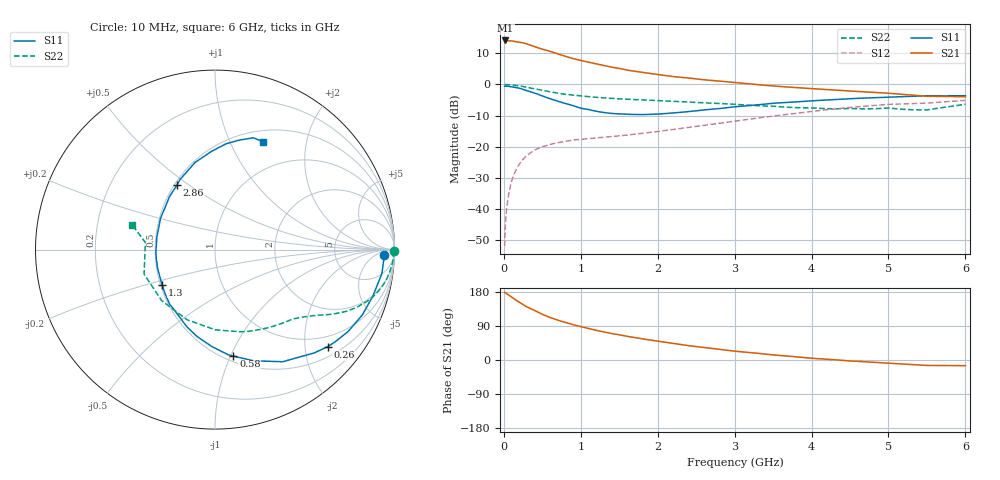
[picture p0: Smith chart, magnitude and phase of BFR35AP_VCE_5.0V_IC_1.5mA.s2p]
! Infineon Technologies  Discrete & RF Semiconductors
! BFR35AP
! VCE =  5.0 V,  IC =  1.5 mA
! Common Emitter S-Parameters:  Nov 2015
# GHz  S  MA  R  50
!  f  S11  S21  S12  S22
! GHz  MAG  ANG  MAG  ANG  MAG  ANG  MAG  ANG
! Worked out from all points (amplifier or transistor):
!   210 points, 10 MHz to 6 GHz, reference 50 ohm
!   highest |S21| = 14.2 dB at 20 MHz (marker M1)
!   |S21| within 3 dB of that: start of sweep to 527.5 MHz
!   unconditionally stable (mu >= 1): 1.301 GHz to 3.761 GHz; 5.347 GHz to 5.76 GHz
!   at 185 MHz: K = 0.18, MSG = 20.0 dB, |S12| = -26.3 dB
!   at 1.52 GHz: K = 1.09, MAG = 9.0 dB, |S12| = -16.5 dB
!   at 6 GHz: K = 0.98, MSG = 0.6 dB, |S12| = -5.1 dB
!   S11 on the Smith chart (normalised r, x): 10 MHz: 26, -13; 260 MHz: 0.73, -2.51; 580 MHz: 0.55, -1.03; 1.3 GHz: 0.51, -0.23; 2.86 GHz: 0.52, +0.45; 6 GHz: 0.63, +1.34
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0.01  0.9402 -1.7  5.084 178.8  0.0025 92.8  0.9999 -0.6
0.02  0.9421 -3.3  5.103 177.0  0.0056 88.4  0.9944 -1.4
0.055  0.9366 -8.9  5.036 172.4  0.0148 84.0  0.9928 -3.7
0.1  0.917 -16.4  5.028 166.4  0.0274 80.1  0.9836 -6.8
0.15  0.8979 -23.9  4.895 158.9  0.0399 75.0  0.9686 -10.2
0.26  0.8283 -40.8  4.642 144.9  0.0645 66.4  0.9206 -16.4
0.3  0.7985 -46.1  4.491 140.1  0.0722 63.7  0.8994 -18.4
0.4  0.7297 -58.9  4.066 130.4  0.088 57.7  0.8501 -22.4
0.5  0.655 -71.0  3.697 120.3  0.0998 52.5  0.803 -25.5
0.58  0.6021 -80.2  3.466 114.0  0.1069 49.5  0.7682 -27.5
0.7  0.5392 -92.1  3.122 105.1  0.1154 46.2  0.7248 -30.0
0.8  0.4941 -101.7  2.835 98.8  0.1215 44.0  0.6946 -31.6
1.02  0.4104 -122.1  2.403 86.9  0.1319 41.7  0.6505 -34.6
1.3  0.3536 -146.6  2.016 74.1  0.1417 41.4  0.608 -38.3
1.62  0.3303 -172.2  1.689 61.9  0.1542 42.9  0.576 -42.7
2.02  0.3346 160.2  1.435 49.0  0.1762 45.2  0.5485 -49.3
2.86  0.4169 120.8  1.116 26.8  0.2434 47.0  0.4896 -68.5
3.1  0.447 113.4  1.045 21.5  0.2676 46.0  0.4701 -75.8
4.1  0.5539 90.7  0.841 3.4  0.3797 37.4  0.4128 -116.4
5.1  0.6306 76.2  0.706 -9.6  0.4821 22.4  0.4066 -165.5
5.5  0.6586 71.1  0.645 -14.3  0.5015 15.3  0.3897 174.2
6  0.658 65.8  0.635 -14.9  0.5539 10.6  0.4796 163.5
